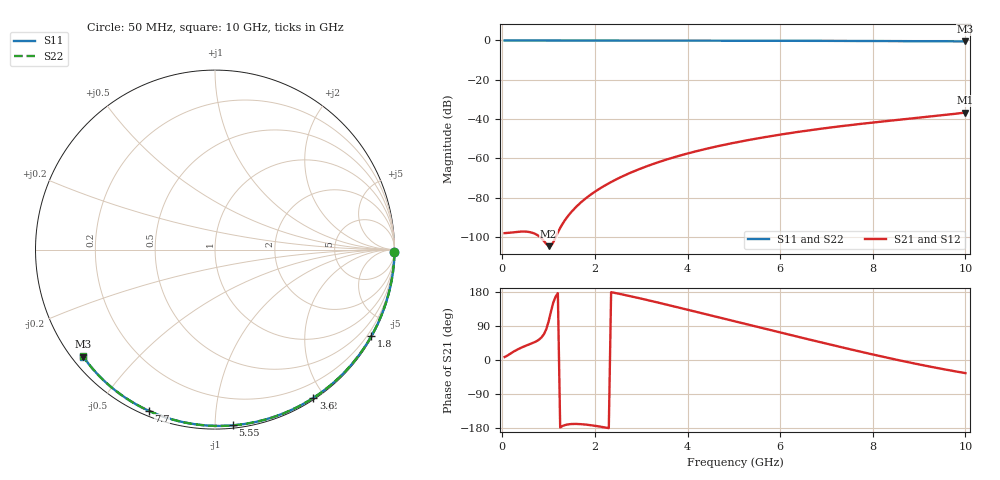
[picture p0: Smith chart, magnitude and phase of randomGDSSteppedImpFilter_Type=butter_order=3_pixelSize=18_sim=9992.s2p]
! freq	dB(S11)	phase(S11)	dB(S12)	phase(S12)
!  dB(S21)	phase(S21)	dB(S22)	phase(S22)
!S-par simulation data
#  GHz  S  DB  R 50
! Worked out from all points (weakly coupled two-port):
!   200 points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, 50 MHz to 10 GHz, reference 50 ohm
!   highest |S21| = -36.71 dB at 10 GHz (marker M1); lowest = -104.7 dB at 1 GHz (marker M2)
!   lowest |S11| = -0.5 dB at 10 GHz (marker M3), VSWR 35.81, Z = 1.57 - j17.7 ohm
!   |S11| at or under -10 dB: nowhere
!   |S22| runs from -0.5 to 0.0 dB; largest |S21 - S12| = 0
!   S11 on the Smith chart (normalised r, x): 50 MHz: open; 1.8 GHz: 0.03, -3.87; 3.6 GHz: 0.02, -1.86; 5.55 GHz: 0.02, -1.11; 7.7 GHz: 0.02, -0.67; 10 GHz: 0.03, -0.35
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0.05  -0.00 -0.8  -98.11 7.9  -98.11 7.9  -0.00 -0.8
0.5  -0.01 -8.2  -97.32 37.2  -97.32 37.2  -0.01 -8.2
1  -0.02 -16.2  -104.75 101.5  -104.75 101.5  -0.02 -16.2
1.75  -0.04 -28.2  -81.41 -169.8  -81.41 -169.8  -0.04 -28.2
1.8  -0.04 -28.9  -80.45 -170.4  -80.45 -170.4  -0.04 -29.0
1.85  -0.04 -29.7  -79.53 -171.1  -79.53 -171.1  -0.04 -29.8
2.05  -0.04 -32.9  -76.23 -174.5  -76.23 -174.5  -0.04 -32.9
2.2  -0.04 -35.2  -74.07 -177.6  -74.07 -177.6  -0.04 -35.2
2.55  -0.05 -40.6  -69.69 174.0  -69.69 174.0  -0.05 -40.7
2.95  -0.06 -46.7  -65.59 163.4  -65.59 163.4  -0.06 -46.8
3.4  -0.07 -53.5  -61.75 150.5  -61.75 150.5  -0.07 -53.6
3.6  -0.08 -56.5  -60.25 144.6  -60.25 144.6  -0.08 -56.5
3.9  -0.08 -60.9  -58.20 135.7  -58.20 135.7  -0.08 -60.9
4.3  -0.09 -66.7  -55.76 123.6  -55.76 123.6  -0.09 -66.7
5.05  -0.12 -77.3  -51.90 101.0  -51.90 101.0  -0.12 -77.4
5.55  -0.14 -84.2  -49.71 86.0  -49.71 86.0  -0.14 -84.3
6.1  -0.16 -91.6  -47.58 69.7  -47.58 69.7  -0.16 -91.7
6.7  -0.19 -99.5  -45.52 51.9  -45.52 51.9  -0.19 -99.6
7.7  -0.26 -112.3  -42.59 23.0  -42.59 23.0  -0.26 -112.4
8.35  -0.31 -120.4  -40.93 5.1  -40.93 5.1  -0.31 -120.5
9.2  -0.39 -131.0  -38.85 -16.6  -38.85 -16.6  -0.39 -131.1
10  -0.49 -140.9  -36.71 -34.6  -36.71 -34.6  -0.49 -141.0
